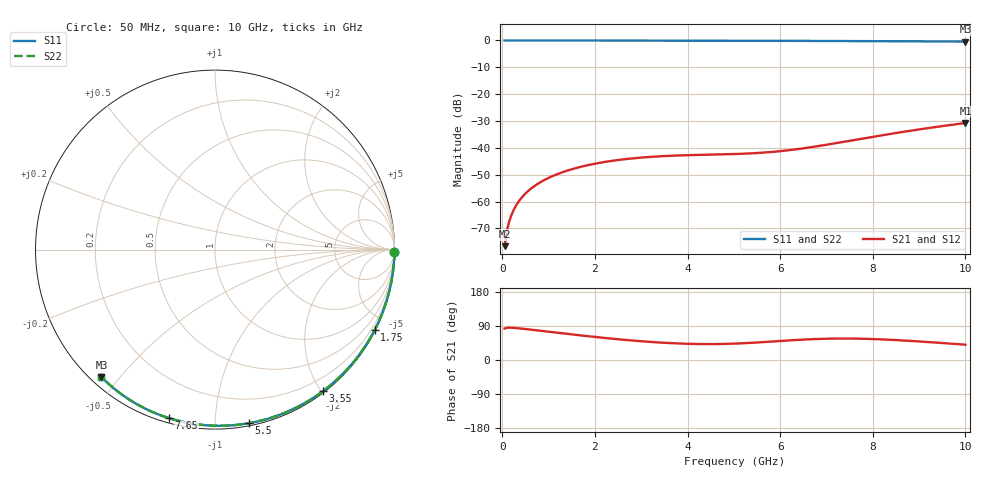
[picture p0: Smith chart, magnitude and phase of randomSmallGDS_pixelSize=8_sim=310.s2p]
! freq	dB(S11)	phase(S11)	dB(S12)	phase(S12)
!  dB(S21)	phase(S21)	dB(S22)	phase(S22)
!S-par simulation data
#  GHz  S  DB  R 50
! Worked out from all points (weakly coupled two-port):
!   200 points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, 50 MHz to 10 GHz, reference 50 ohm
!   highest |S21| = -30.74 dB at 10 GHz (marker M1); lowest = -76.6 dB at 50 MHz (marker M2)
!   lowest |S11| = -0.4 dB at 10 GHz (marker M3), VSWR 39.81, Z = 1.51 - j22.4 ohm
!   |S11| at or under -10 dB: nowhere
!   |S22| runs from -0.4 to 0.0 dB; largest |S21 - S12| = 0
!   S11 on the Smith chart (normalised r, x): 50 MHz: open; 1.75 GHz: 0.04, -4.22; 3.55 GHz: 0.02, -2.02; 5.5 GHz: 0.02, -1.21; 7.65 GHz: 0.02, -0.76; 10 GHz: 0.03, -0.45
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0.05  -0.00 -0.8  -76.64 82.9  -76.64 82.9  -0.00 -0.8
0.1  -0.00 -1.6  -70.86 85.0  -70.86 85.0  -0.00 -1.6
0.15  -0.00 -2.3  -67.39 85.4  -67.39 85.4  -0.00 -2.3
0.2  -0.00 -3.1  -64.91 85.2  -64.91 85.2  -0.00 -3.1
0.25  -0.00 -3.9  -62.99 84.8  -62.99 84.8  -0.00 -3.9
0.35  -0.00 -5.4  -60.09 83.7  -60.09 83.7  -0.00 -5.4
0.5  -0.01 -7.7  -57.02 81.7  -57.02 81.7  -0.01 -7.7
0.7  -0.01 -10.8  -54.16 78.9  -54.16 78.9  -0.01 -10.8
1  -0.02 -15.4  -51.19 74.6  -51.19 74.6  -0.02 -15.4
1.35  -0.03 -20.7  -48.79 69.7  -48.79 69.7  -0.03 -20.7
1.75  -0.03 -26.7  -46.85 64.1  -46.85 64.1  -0.03 -26.7
2.5  -0.05 -37.7  -44.54 54.7  -44.54 54.7  -0.05 -37.7
3.4  -0.07 -50.7  -43.16 46.1  -43.16 46.1  -0.07 -50.7
3.55  -0.07 -52.8  -43.03 45.1  -43.03 45.1  -0.07 -52.8
4.3  -0.09 -63.1  -42.61 42.1  -42.61 42.1  -0.09 -63.1
5.05  -0.11 -73.1  -42.30 43.4  -42.30 43.4  -0.11 -73.1
5.5  -0.13 -79.0  -41.94 46.2  -41.94 46.2  -0.13 -79.0
6.05  -0.15 -85.9  -41.16 50.6  -41.16 50.6  -0.15 -85.9
6.7  -0.18 -93.9  -39.68 55.0  -39.68 55.0  -0.18 -93.9
7.65  -0.23 -105.2  -36.94 56.4  -36.94 56.4  -0.23 -105.2
8.35  -0.28 -113.3  -34.89 53.5  -34.89 53.5  -0.28 -113.3
10  -0.44 -131.7  -30.74 40.4  -30.74 40.4  -0.44 -131.7
